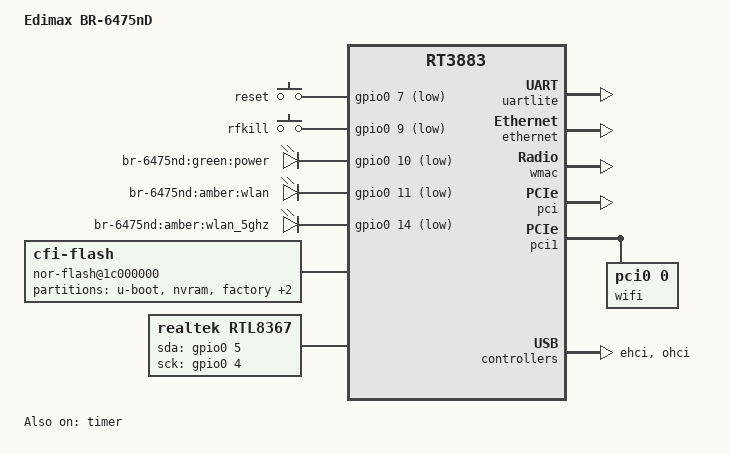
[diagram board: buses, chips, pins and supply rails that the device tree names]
/dts-v1/;

#include "rt3883.dtsi"

#include <dt-bindings/gpio/gpio.h>
#include <dt-bindings/input/input.h>

/ {
	compatible = "edimax,br-6475nd", "ralink,rt3883-soc";
	model = "Edimax BR-6475nD";

	aliases {
		led-boot = &led_power;
		led-failsafe = &led_power;
		led-running = &led_power;
		led-upgrade = &led_power;
	};

	gpio-keys-polled {
		compatible = "gpio-keys-polled";
		poll-interval = <100>;

		reset {
			label = "reset";
			gpios = <&gpio0 7 GPIO_ACTIVE_LOW>;
			linux,code = <KEY_RESTART>;
		};

		rfkill {
			label = "rfkill";
			gpios = <&gpio0 9 GPIO_ACTIVE_LOW>;
			linux,input-type = <EV_SW>;
			linux,code = <KEY_RFKILL>;
		};
	};

	gpio-leds {
		compatible = "gpio-leds";

		led_power: power {
			label = "br-6475nd:green:power";
			gpios = <&gpio0 10 GPIO_ACTIVE_LOW>;
		};

		wlan {
			label = "br-6475nd:amber:wlan";
			gpios = <&gpio0 11 GPIO_ACTIVE_LOW>;
		};

		wlan_5ghz {
			label = "br-6475nd:amber:wlan_5ghz";
			gpios = <&gpio0 14 GPIO_ACTIVE_LOW>;
		};
	};

	nor-flash@1c000000 {
		compatible = "cfi-flash";
		reg = <0x1c000000 0x800000>;
		bank-width = <2>;

		partitions {
			compatible = "fixed-partitions";
			#address-cells = <1>;
			#size-cells = <1>;

			partition@0 {
				reg = <0x00000000 0x00030000>;
				label = "u-boot";
				read-only;
			};

			partition@30000 {
				reg = <0x00030000 0x00010000>;
				label = "nvram";
				read-only;
			};

			factory: partition@40000 {
				reg = <0x00040000 0x00010000>;
				label = "factory";
				read-only;
			};

			devdata: partition@50000 {
				reg = <0x00050000 0x00020000>;
				label = "devdata";
				read-only;
			};

			partition@70000 {
				reg = <0x00070000 0x00790000>;
				label = "firmware";
			};
		};
	};

	rtl8367 {
		compatible = "realtek,rtl8367";
		gpio-sda = <&gpio0 5 GPIO_ACTIVE_HIGH>;
		gpio-sck = <&gpio0 4 GPIO_ACTIVE_HIGH>;
		realtek,extif0 = <1 0 1 1 1 1 1 1 2>;
	};

	/*
	 * Unclear if this is the correct gpio setup; the USB ports are
	 * unpopulated on a stock BR-6475nD, even though the hardware exists
	 * and the headers are there.
	 */
	/*
	gpio_export {
		compatible = "gpio-export";
		#size-cells = <0>;

		usb {
			gpio-export,name="usb";
			gpio-export,output=<0>;
			gpios = <&gpio0 19 GPIO_ACTIVE_LOW>;
		};
	};
	*/
};

&pinctrl {
	state_default: pinctrl0 {
		gpio {
			ralink,group = "spi", "jtag", "uartf";
			ralink,function = "gpio";
		};
	};
};

&timer {
	status = "okay";
};

&gpio1 {
	status = "okay";
};

&uartlite {
	status = "okay";
};

&ethernet {
	status = "okay";
	mtd-mac-address = <&devdata 0x0d>;

	port@0 {
		mediatek,fixed-link = <1000 1 1 1>;
	};
};

&wmac {
	status = "okay";
	ralink,mtd-eeprom = <&factory 0>;
};

&pci {
	status = "okay";
};

&pci1 {
	status = "okay";

	wifi@0,0 {
		compatible = "pci0,0";
		reg = <0x10000 0 0 0 0>;
		ralink,5ghz = <0>;
		ralink,mtd-eeprom = <&factory 0x8000>;
	};
};

&ehci {
	status = "okay";
};

&ohci {
	status = "okay";
};
